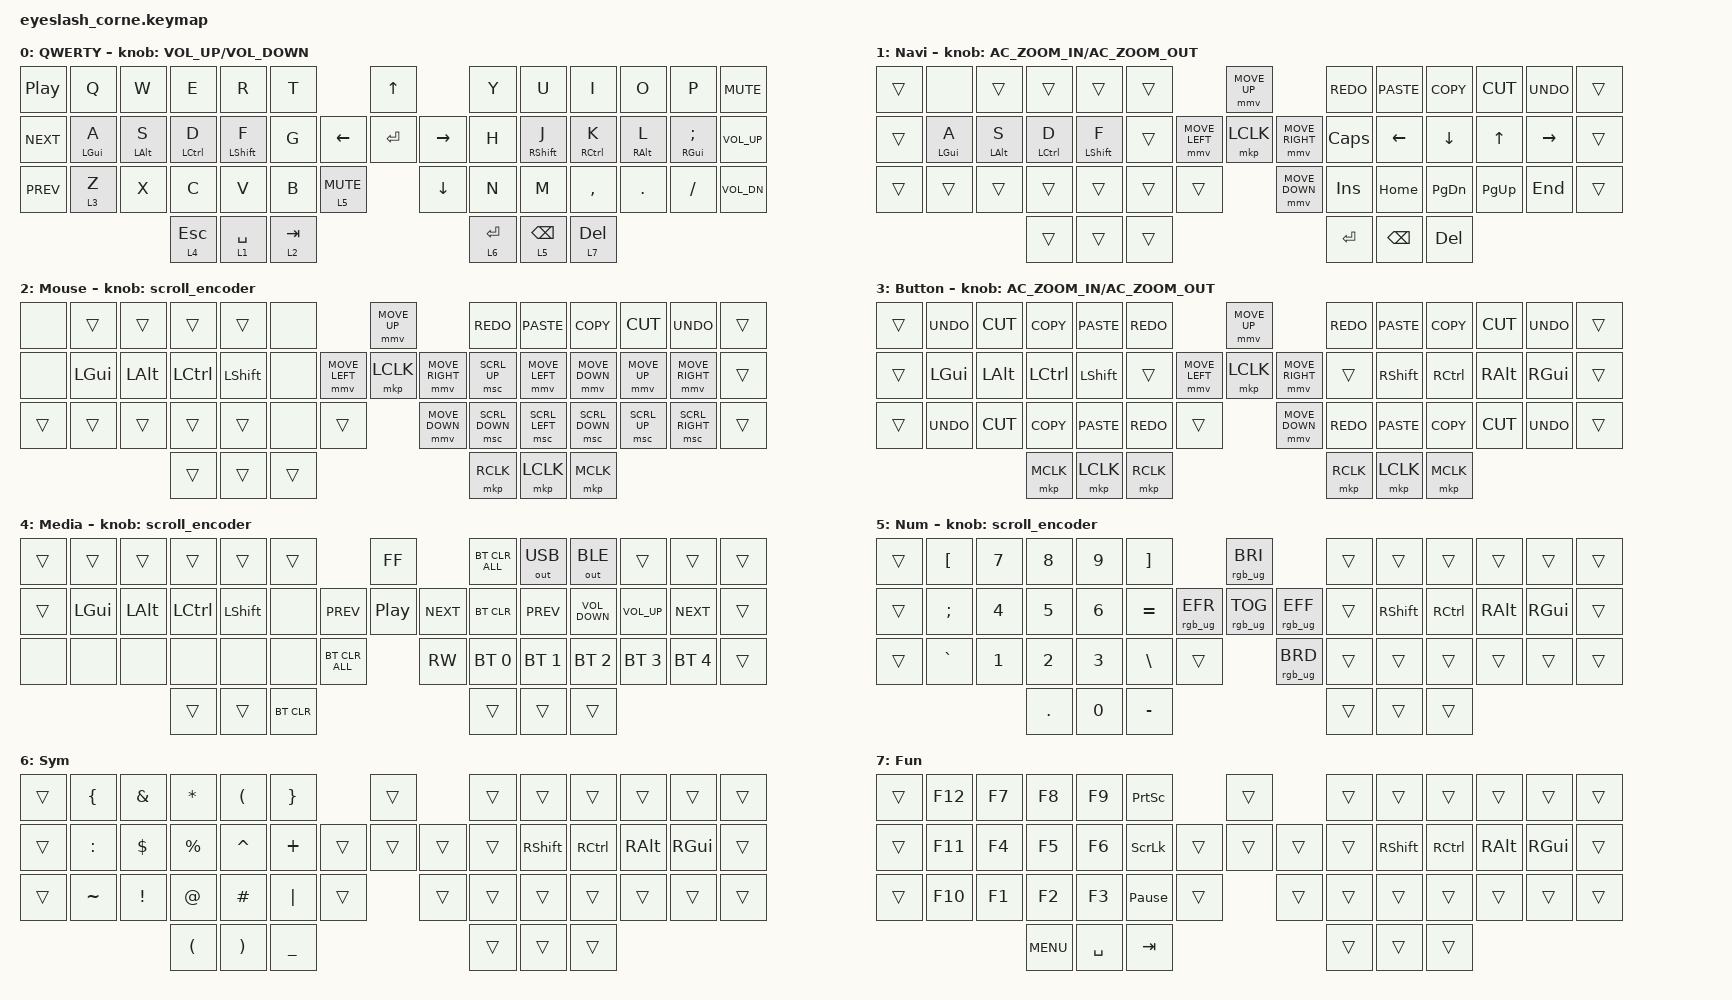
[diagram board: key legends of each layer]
#define ZMK_POINTING_DEFAULT_MOVE_VAL 1400  // 600
#define ZMK_POINTING_DEFAULT_SCRL_VAL 25   // 10

#include <input/processors.dtsi>
#include <zephyr/dt-bindings/input/input-event-codes.h>
#include <behaviors.dtsi>
#include <dt-bindings/zmk/bt.h>
#include <dt-bindings/zmk/ext_power.h>
#include <dt-bindings/zmk/keys.h>
#include <dt-bindings/zmk/pointing.h>
#include <dt-bindings/zmk/outputs.h>
#include <dt-bindings/zmk/rgb.h>

// Physical Left Hand typing grid
#define KEYS_L 0 1 2 3 4 5 \
               13 14 15 16 17 18 \
               28 29 30 31 32 33

// Physical Right Hand typing grid
#define KEYS_R 8 9 10 11 12 \
               22 23 24 25 26 27 \
               36 37 38 39 40 41

// Center cluster (Joystick and Middle Keys) plus all Thumbs
#define KEYS_T 6 7 19 20 21 35 45 \
               34 42 43 44 46 47

#define C_HM_L(k1, k2, k3, k4) &c_hm_l LGUI k1 &c_hm_l LALT k2 &c_hm_l LCTRL k3 &c_hm_l LSHFT k4
#define C_HM_R(k1, k2, k3, k4) &c_hm_r RSHFT k1 &c_hm_r RCTRL k2 &c_hm_r RALT k3 &c_hm_r RGUI k4

&mmv_input_listener { input-processors = <&zip_xy_scaler 2 1>; };

&msc_input_listener { input-processors = <&zip_scroll_scaler 2 1>; };

&msc {
    acceleration-exponent = <1>;      // 0
    time-to-max-speed-ms = <300>;       // 300
    delay-ms = <0>;                   // 0
};

&mmv {
    time-to-max-speed-ms = <500>;
    acceleration-exponent = <2>;
    trigger-period-ms = <16>;
};

&soft_off { hold-time-ms = <2000>; };

/ {
    behaviors {
    rgb_encoder: rgb_encoder {
        compatible = "zmk,behavior-sensor-rotate";
        #sensor-binding-cells = <0>;
        bindings = <&rgb_ug RGB_BRI>, <&rgb_ug RGB_BRD>;
    };

    scroll_encoder: scroll_encoder {
        compatible = "zmk,behavior-sensor-rotate";
        #sensor-binding-cells = <0>;
        bindings = <&msc SCRL_DOWN>, <&msc SCRL_UP>;
        tap-ms = <100>;
    };

// Left-hand mods: Only trigger when a RIGHT or THUMB key is pressed
        c_hm_l: homerow_left_mod {
            compatible = "zmk,behavior-hold-tap";
            #binding-cells = <2>;
            flavor = "balanced";
            tapping-term-ms = <275>;
            quick-tap-ms = <150>; 
            require-prior-idle-ms = <150>; 
            hold-trigger-key-positions = <KEYS_R KEYS_T>;
            hold-trigger-on-release; 
            bindings = <&kp>, <&kp>;
        };

// Right-hand mods: Only trigger when a LEFT or THUMB key is pressed
        c_hm_r: homerow_right_mod {
            compatible = "zmk,behavior-hold-tap";
            #binding-cells = <2>;
            flavor = "balanced";
            tapping-term-ms = <275>;
            quick-tap-ms = <150>;
            require-prior-idle-ms = <150>;
            hold-trigger-key-positions = <KEYS_L KEYS_T>;
            hold-trigger-on-release;
            bindings = <&kp>, <&kp>;
        };
    };

    rgb_encoder: rgb_encoder {
        compatible = "zmk,behavior-sensor-rotate";
        #sensor-binding-cells = <0>;
        bindings = <&rgb_ug RGB_BRI>, <&rgb_ug RGB_BRD>;
    };

    scroll_encoder: scroll_encoder {
        compatible = "zmk,behavior-sensor-rotate";
        #sensor-binding-cells = <0>;
        bindings = <&msc SCRL_DOWN>, <&msc SCRL_UP>;

        tap-ms = <30>;
    };

    combos {
      compatible = "zmk,combos";
      cut {
        timeout-ms = <18>;
        bindings = <&kp K_CUT>;
        key-positions = <30 32>;
        require-prior-idle-ms = <150>;
      };
      copy {
        timeout-ms = <18>;
        bindings = <&kp K_COPY>;
        key-positions = <30 31>;
        require-prior-idle-ms = <150>;
      };
      paste {
        timeout-ms = <18>;
        bindings = <&kp K_PASTE>;
        key-positions = <31 32>;
        require-prior-idle-ms = <150>;
      };
    };

    keymap {
        compatible = "zmk,keymap";

        Base {
            display-name = "QWERTY";
            bindings = <
&kp C_PLAY_PAUSE  &kp Q           &kp W           &kp E               &kp R             &kp T                                &kp UP                &kp Y        &kp U              &kp I                &kp O            &kp P                  &kp C_MUTE
&kp C_NEXT        &c_hm_l LGUI A  &c_hm_l LALT S  &c_hm_l LCTRL D     &c_hm_l LSHFT F   &kp G                      &kp LEFT  &kp ENTER  &kp RIGHT  &kp H        &c_hm_r RSHFT J    &c_hm_r RCTRL K      &c_hm_r RALT L   &c_hm_r RGUI SEMI      &kp C_VOL_UP
&kp C_PREV        &lt 3 Z         &kp X           &kp C               &kp V             &kp B      &lt 5 C_MUTE              &kp DOWN              &kp N        &kp M              &kp COMMA            &kp DOT          &kp FSLH               &kp C_VOL_DN
                                                  &lt 4 ESC           &lt 1 SPACE       &lt 2 TAB                                                  &lt 6 ENTER  &lt 5 BACKSPACE    &lt 7 DEL
            >;

            sensor-bindings = <&inc_dec_kp C_VOLUME_UP C_VOLUME_DOWN>;
        };

        Navi {
            display-name = "Navi";
            bindings = <
&trans  &none              &trans            &trans             &trans                  &trans                            &mmv MOVE_UP                     &kp K_REDO    &kp K_PASTE  &kp K_COPY  &kp K_CUT  &kp K_UNDO  &trans
&trans  &c_hm_l LGUI A     &c_hm_l LALT S    &c_hm_l LCTRL D    &c_hm_l LSHFT F         &trans            &mmv MOVE_LEFT  &mkp LCLK       &mmv MOVE_RIGHT  &kp CAPSLOCK  &kp LEFT     &kp DOWN    &kp UP     &kp RIGHT   &trans
&trans  &trans             &trans            &trans             &trans                  &trans  &trans                    &mmv MOVE_DOWN                   &kp INSERT    &kp HOME     &kp PG_DN   &kp PG_UP  &kp END     &trans
                                             &trans             &trans                  &trans                                                             &kp ENTER     &kp BSPC     &kp DEL
            >;

            sensor-bindings = <&inc_dec_kp C_AC_ZOOM_IN C_AC_ZOOM_OUT>;
        };

        Mouse {
            display-name = "Mouse";
            bindings = <
&none   &trans        &trans        &trans            &trans          &none                             &mmv MOVE_UP                     &kp K_REDO      &kp K_PASTE     &kp K_COPY      &kp K_CUT     &kp K_UNDO       &trans
&none   &kp LGUI      &kp LALT      &kp LCTRL         &kp LSHFT       &none             &mmv MOVE_LEFT  &mkp LCLK       &mmv MOVE_RIGHT  &msc SCRL_UP    &mmv MOVE_LEFT  &mmv MOVE_DOWN  &mmv MOVE_UP  &mmv MOVE_RIGHT  &trans
&trans  &trans        &trans        &trans            &trans          &none   &trans                    &mmv MOVE_DOWN                   &msc SCRL_DOWN  &msc SCRL_LEFT  &msc SCRL_DOWN  &msc SCRL_UP  &msc SCRL_RIGHT  &trans
                                    &trans            &trans          &trans                                                             &mkp RCLK       &mkp LCLK       &mkp MCLK
            >;

            sensor-bindings = <&scroll_encoder>;
        };

        Button {
            display-name = "Button";
            bindings = <
&trans  &kp K_UNDO    &kp K_CUT  &kp K_COPY  &kp K_PASTE  &kp K_REDO                            &mmv MOVE_UP                     &kp K_REDO  &kp K_PASTE      &kp K_COPY         &kp K_CUT      &kp K_UNDO     &trans
&trans  &kp LGUI      &kp LALT   &kp LCTRL   &kp LSHFT    &trans                &mmv MOVE_LEFT  &mkp LCLK       &mmv MOVE_RIGHT  &trans      &kp RSHFT        &kp RCTRL          &kp RALT       &kp RGUI       &trans
&trans  &kp K_UNDO    &kp K_CUT  &kp K_COPY  &kp K_PASTE  &kp K_REDO  &trans                    &mmv MOVE_DOWN                   &kp K_REDO  &kp K_PASTE      &kp K_COPY         &kp K_CUT      &kp K_UNDO     &trans
                                 &mkp MCLK   &mkp LCLK    &mkp RCLK                                                              &mkp RCLK   &mkp LCLK        &mkp MCLK
            >;

            sensor-bindings = <&inc_dec_kp C_AC_ZOOM_IN C_AC_ZOOM_OUT>;
        };

        Media {
            display-name = "Media";
            bindings = <
&trans  &trans        &trans        &trans            &trans          &trans                                    &kp C_FF                        &bt BT_CLR_ALL  &out OUT_USB  &out OUT_BLE       &trans             &trans            &trans
&trans  &kp LGUI      &kp LALT      &kp LCTRL         &kp LSHFT       &none                         &kp C_PREV  &kp C_PLAY_PAUSE    &kp C_NEXT  &bt BT_CLR      &kp C_PREV    &kp C_VOLUME_DOWN  &kp C_VOLUME_UP    &kp C_NEXT        &trans
&none   &none         &none         &none             &none           &none       &bt BT_CLR_ALL                &kp C_RW                        &bt BT_SEL 0    &bt BT_SEL 1  &bt BT_SEL 2       &bt BT_SEL 3       &bt BT_SEL 4      &trans
                                    &trans            &trans          &bt BT_CLR                                                                &trans          &trans        &trans
            >;

            sensor-bindings = <&scroll_encoder>;
        };

        Num {
            display-name = "Num";
            bindings = <
&trans  &kp LBKT          &kp N7        &kp N8      &kp N9  &kp RBKT                                      &rgb_ug RGB_BRI                   &trans  &trans     &trans             &trans    &trans    &trans
&trans  &kp SEMI          &kp N4        &kp N5      &kp N6  &kp EQUAL                    &rgb_ug RGB_EFR  &rgb_ug RGB_TOG  &rgb_ug RGB_EFF  &trans  &kp RSHFT  &kp RCTRL          &kp RALT  &kp RGUI  &trans
&trans  &kp GRAVE         &kp N1        &kp N2      &kp N3  &kp BACKSLASH      &trans                     &rgb_ug RGB_BRD                   &trans  &trans     &trans             &trans    &trans    &trans
                                        &kp PERIOD  &kp N0  &kp MINUS                                                                       &trans  &trans     &trans
            >;

            sensor-bindings = <&scroll_encoder>;
        };

        Sym {
            display-name = "Sym";
            bindings = <
&trans  &kp LBRC        &kp AMPS         &kp STAR              &kp LPAR               &kp RBRC                           &trans          &trans  &trans           &trans             &trans         &trans         &trans
&trans  &kp COLON       &kp DLLR         &kp PRCNT             &kp CARET              &kp PLUS                   &trans  &trans  &trans  &trans  &kp RSHFT        &kp RCTRL          &kp RALT       &kp RGUI       &trans
&trans  &kp TILDE       &kp EXCL         &kp AT                &kp HASH               &kp PIPE         &trans            &trans          &trans  &trans           &trans             &trans         &trans         &trans
                                         &kp LPAR              &kp RPAR               &kp UNDER                                          &trans  &trans           &trans
            >;
        };

        Fun {
            display-name = "Fun";
            bindings = <
&trans  &kp F12  &kp F7  &kp F8      &kp F9     &kp PSCRN                          &trans          &trans  &trans           &trans             &trans         &trans         &trans
&trans  &kp F11  &kp F4  &kp F5      &kp F6     &kp SLCK                   &trans  &trans  &trans  &trans  &kp RSHFT        &kp RCTRL          &kp RALT       &kp RGUI       &trans
&trans  &kp F10  &kp F1  &kp F2      &kp F3     &kp PAUSE_BREAK  &trans            &trans          &trans  &trans           &trans             &trans         &trans         &trans
                         &kp C_MENU  &kp SPACE  &kp TAB                                            &trans  &trans           &trans
            >;

        };
    };
}; 
